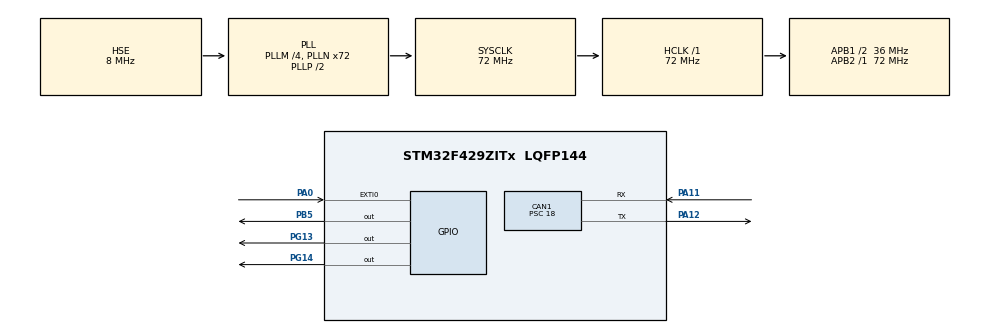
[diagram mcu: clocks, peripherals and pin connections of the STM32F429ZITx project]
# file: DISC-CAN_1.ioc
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CAN1.BS2=CAN_BS2_2TQ
CAN1.CalculateBaudRate=500000
CAN1.CalculateTimeBit=2000
CAN1.CalculateTimeQuantum=500.0
CAN1.Prescaler=18
Mcu.Family=STM32F4
Mcu.Name=STM32F429ZITx
Mcu.Package=LQFP144
NVIC.CAN1_RX0_IRQn=true\:0\:2\:false\:false\:true\:true\:true\:true
NVIC.EXTI0_IRQn=true\:0\:1\:false\:false\:true\:true\:true\:true
NVIC.PriorityGroup=NVIC_PRIORITYGROUP_0
PA0/WKUP.Signal=GPXTI0
PA11.Mode=CAN_Activate
PA11.Signal=CAN1_RX
PA12.Mode=CAN_Activate
PA12.Signal=CAN1_TX
PB5.Signal=GPIO_Output
PG13.Signal=GPIO_Output
PG14.Signal=GPIO_Output
PH0/OSC_IN.Mode=HSE-External-Oscillator
PH0/OSC_IN.Signal=RCC_OSC_IN
PH1/OSC_OUT.Mode=HSE-External-Oscillator
PH1/OSC_OUT.Signal=RCC_OSC_OUT
ProjectManager.HeapSize=0x200
ProjectManager.StackSize=0x400
ProjectManager.TargetToolchain=STM32CubeIDE
RCC.48MHZClocksFreq_Value=20571428.57142857
RCC.AHBFreq_Value=72000000
RCC.APB1CLKDivider=RCC_HCLK_DIV2
RCC.APB1Freq_Value=36000000
RCC.APB1TimFreq_Value=72000000
RCC.APB2Freq_Value=72000000
RCC.APB2TimFreq_Value=72000000
RCC.CortexFreq_Value=72000000
RCC.HCLKFreq_Value=72000000
RCC.HSE_VALUE=8000000
RCC.HSI_VALUE=16000000
RCC.LSE_VALUE=32768
RCC.PLLM=4
RCC.PLLN=72
RCC.PLLQ=7
RCC.PLLSourceVirtual=RCC_PLLSOURCE_HSE
RCC.SYSCLKFreq_VALUE=72000000
RCC.SYSCLKSource=RCC_SYSCLKSOURCE_PLLCLK
RCC.VCOOutputFreq_Value=144000000
board=STM32F429I-DISC1

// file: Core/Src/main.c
/* USER CODE BEGIN Header */
/**
  ******************************************************************************
  * @file           : main.c
  * @brief          : Main program body
  ******************************************************************************
  * @attention
  *
  * Copyright (c) 2022 STMicroelectronics.
  * All rights reserved.
  *
  * This software is licensed under terms that can be found in the LICENSE file
  * in the root directory of this software component.
  * If no LICENSE file comes with this software, it is provided AS-IS.
  *
  ******************************************************************************
  */
/* USER CODE END Header */
#include "main.h"

CAN_HandleTypeDef hcan1;

/* USER CODE BEGIN PV */
CAN_TxHeaderTypeDef TxHeader;

CAN_RxHeaderTypeDef RxHeader;
/* USER CODE END PV */

void SystemClock_Config(void);
static void MX_GPIO_Init(void);
static void MX_CAN1_Init(void);
/* USER CODE BEGIN PFP */
void CAN_Filter_Config(void);
/* USER CODE END PFP */

/* USER CODE BEGIN 0 */
uint8_t Trns_data[8];

uint8_t Recvd_data[8];

uint32_t TxMailbox  ;
uint8_t data_check=0;

/* USER CODE END 0 */

int main(void)
{

  /* MCU Configuration--------------------------------------------------------*/

  /* Reset of all peripherals, Initializes the Flash interface and the Systick. */
  HAL_Init();

  /* Configure the system clock */
  SystemClock_Config();

  /* Initialize all configured peripherals */
  MX_GPIO_Init();
  MX_CAN1_Init();
  /* USER CODE BEGIN 2 */
  CAN_Filter_Config();

    if( HAL_CAN_Start(&hcan1)!= HAL_OK)
          {
        	 Error_Handler();
          }
    if( HAL_CAN_ActivateNotification(&hcan1,CAN_IT_RX_FIFO0_MSG_PENDING )!= HAL_OK)
     {
   	  Error_Handler();
     }

    TxHeader .DLC = 2;
    TxHeader .StdId = 0x446;
    TxHeader .IDE = CAN_ID_STD;
    TxHeader .RTR = CAN_RTR_DATA;

  /* USER CODE END 2 */

  /* Infinite loop */
  while (1)
  {
	  if(data_check)
	   {

	  	 for(int i=0;i<Recvd_data[1];i++)
	  	 {

	  	 HAL_GPIO_TogglePin(GPIOG, GPIO_PIN_13);
	       HAL_Delay(Recvd_data[0]);
	      }
	      /* USER CODE BEGIN 3 */
	  	data_check=0;
	    }
    /* USER CODE BEGIN 3 */
  }
  /* USER CODE END 3 */
}

void SystemClock_Config(void)
{
  RCC_OscInitTypeDef RCC_OscInitStruct = {0};
  RCC_ClkInitTypeDef RCC_ClkInitStruct = {0};

  /** Configure the main internal regulator output voltage
  */
  __HAL_RCC_PWR_CLK_ENABLE();
  __HAL_PWR_VOLTAGESCALING_CONFIG(PWR_REGULATOR_VOLTAGE_SCALE3);

  /** Initializes the RCC Oscillators according to the specified parameters
  * in the RCC_OscInitTypeDef structure.
  */
  RCC_OscInitStruct.OscillatorType = RCC_OSCILLATORTYPE_HSE;
  RCC_OscInitStruct.HSEState = RCC_HSE_ON;
  RCC_OscInitStruct.PLL.PLLState = RCC_PLL_ON;
  RCC_OscInitStruct.PLL.PLLSource = RCC_PLLSOURCE_HSE;
  RCC_OscInitStruct.PLL.PLLM = 4;
  RCC_OscInitStruct.PLL.PLLN = 72;
  RCC_OscInitStruct.PLL.PLLP = RCC_PLLP_DIV2;
  RCC_OscInitStruct.PLL.PLLQ = 7;
  if (HAL_RCC_OscConfig(&RCC_OscInitStruct) != HAL_OK)
  {
    Error_Handler();
  }

  /** Initializes the CPU, AHB and APB buses clocks
  */
  RCC_ClkInitStruct.ClockType = RCC_CLOCKTYPE_HCLK|RCC_CLOCKTYPE_SYSCLK
                              |RCC_CLOCKTYPE_PCLK1|RCC_CLOCKTYPE_PCLK2;
  RCC_ClkInitStruct.SYSCLKSource = RCC_SYSCLKSOURCE_PLLCLK;
  RCC_ClkInitStruct.AHBCLKDivider = RCC_SYSCLK_DIV1;
  RCC_ClkInitStruct.APB1CLKDivider = RCC_HCLK_DIV2;
  RCC_ClkInitStruct.APB2CLKDivider = RCC_HCLK_DIV1;

  if (HAL_RCC_ClockConfig(&RCC_ClkInitStruct, FLASH_LATENCY_2) != HAL_OK)
  {
    Error_Handler();
  }
}

static void MX_CAN1_Init(void)
{

  hcan1.Instance = CAN1;
  hcan1.Init.Prescaler = 9;
  hcan1.Init.Mode =  CAN_MODE_NORMAL ;
  hcan1.Init.SyncJumpWidth = CAN_SJW_1TQ;
  hcan1.Init.TimeSeg1 = CAN_BS1_3TQ;
  hcan1.Init.TimeSeg2 = CAN_BS2_4TQ;
  hcan1.Init.TimeTriggeredMode = DISABLE;
  hcan1.Init.AutoBusOff = DISABLE;
  hcan1.Init.AutoWakeUp = DISABLE;
  hcan1.Init.AutoRetransmission = DISABLE;
  hcan1.Init.ReceiveFifoLocked = DISABLE;
  hcan1.Init.TransmitFifoPriority = DISABLE;
  if (HAL_CAN_Init(&hcan1) != HAL_OK)
  {
    Error_Handler();
  }

}

static void MX_GPIO_Init(void)
{
  GPIO_InitTypeDef GPIO_InitStruct = {0};

  /* GPIO Ports Clock Enable */
  __HAL_RCC_GPIOH_CLK_ENABLE();
  __HAL_RCC_GPIOA_CLK_ENABLE();
  __HAL_RCC_GPIOG_CLK_ENABLE();
  __HAL_RCC_GPIOB_CLK_ENABLE();

  /*Configure GPIO pin Output Level */
  HAL_GPIO_WritePin(GPIOG, GPIO_PIN_13|GPIO_PIN_14, GPIO_PIN_RESET);

  /*Configure GPIO pin Output Level */
  HAL_GPIO_WritePin(GPIOB, GPIO_PIN_5, GPIO_PIN_RESET);

  /*Configure GPIO pin : PA0 */
  GPIO_InitStruct.Pin = GPIO_PIN_0;
  GPIO_InitStruct.Mode = GPIO_MODE_IT_RISING;
  GPIO_InitStruct.Pull = GPIO_NOPULL;
  HAL_GPIO_Init(GPIOA, &GPIO_InitStruct);

  /*Configure GPIO pins : PG13 PG14 */
  GPIO_InitStruct.Pin = GPIO_PIN_13|GPIO_PIN_14;
  GPIO_InitStruct.Mode = GPIO_MODE_OUTPUT_PP;
  GPIO_InitStruct.Pull = GPIO_NOPULL;
  GPIO_InitStruct.Speed = GPIO_SPEED_FREQ_LOW;
  HAL_GPIO_Init(GPIOG, &GPIO_InitStruct);

  /*Configure GPIO pin : PB5 */
  GPIO_InitStruct.Pin = GPIO_PIN_5;
  GPIO_InitStruct.Mode = GPIO_MODE_OUTPUT_PP;
  GPIO_InitStruct.Pull = GPIO_NOPULL;
  GPIO_InitStruct.Speed = GPIO_SPEED_FREQ_LOW;
  HAL_GPIO_Init(GPIOB, &GPIO_InitStruct);

  /* EXTI interrupt init*/
  HAL_NVIC_SetPriority(EXTI0_IRQn, 0, 1);
  HAL_NVIC_EnableIRQ(EXTI0_IRQn);

}

/* USER CODE BEGIN 4 */
void HAL_CAN_RxFifo0MsgPendingCallback(CAN_HandleTypeDef *hcan)

	{

  if(HAL_CAN_GetRxMessage(&hcan1,CAN_RX_FIFO0,&RxHeader,Recvd_data)!= HAL_OK)

	{

		Error_Handler();

	}

	if( ( RxHeader .DLC == 2 ))
	{
		data_check=1;
	}
	else if((RxHeader.StdId ==0x321)&&(RxHeader.DLC == 2))
	{
		HAL_GPIO_TogglePin(GPIOG, GPIO_PIN_13);
	}
}

void CAN_Filter_Config(void)

{
	CAN_FilterTypeDef can1_filter_init;

	can1_filter_init .FilterActivation =ENABLE;
	can1_filter_init .FilterBank =0;
	can1_filter_init .FilterFIFOAssignment = CAN_RX_FIFO0;
	can1_filter_init .FilterIdHigh =0x0000;
	can1_filter_init .FilterIdLow = 0x0000;
	can1_filter_init .FilterMaskIdHigh =0x0000;
	can1_filter_init .FilterMaskIdLow  =0x0000;
	can1_filter_init .FilterMode = CAN_FILTERMODE_IDMASK;
	can1_filter_init .FilterScale = CAN_FILTERSCALE_32BIT;
	can1_filter_init.SlaveStartFilterBank = 14;

	if(HAL_CAN_ConfigFilter(&hcan1,&can1_filter_init)!=HAL_OK)
	{
		 Error_Handler();
	}
}

/* USER CODE END 4 */

void Error_Handler(void)
{
  __disable_irq();
  while (1)
  {
  }
}
